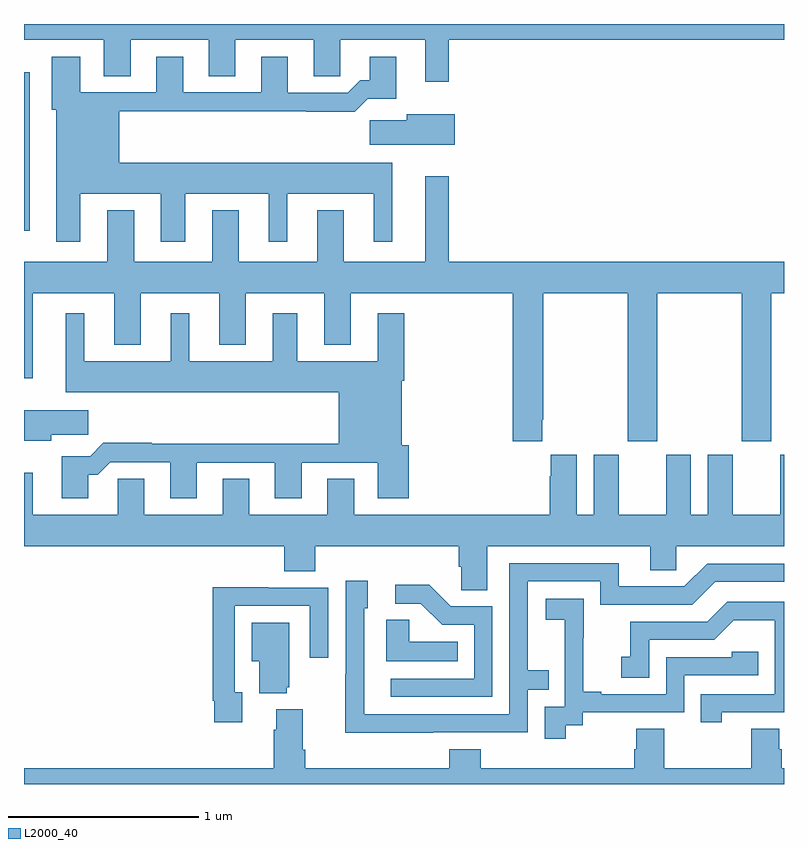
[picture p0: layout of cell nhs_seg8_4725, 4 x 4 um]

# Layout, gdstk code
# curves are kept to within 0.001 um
import gdstk
lib = gdstk.Library(unit=1e-6, precision=1e-09)
def R(c, l, rs):  # rectangles x0, y0, x1, y1
    for r in rs: c.add(gdstk.rectangle(r[:2], r[2:], *l))
def P(c, l, *ps):  # polygons
    for p in ps: c.add(gdstk.Polygon(p, *l))
L2000_40 = (2000, 40)

nhs_seg8_4725 = lib.new_cell('nhs_seg8_4725')
R(nhs_seg8_4725, L2000_40, [(397,1132.812,397.03,1133.647)])
P(nhs_seg8_4725, L2000_40, [(399.235,1133.816),(401,1133.816),(401,1133.9),(397,1133.9),(397,1133.816),(397.421,1133.816),(397.421,1133.626),(397.561,1133.626),(397.561,1133.816),(397.973,1133.816),(397.973,1133.626),(398.113,1133.626),(398.113,1133.816),(398.525,1133.816),(398.525,1133.626),(398.664,1133.626),(398.664,1133.816),(399.113,1133.816),(399.113,1133.595),(399.235,1133.595)],
  [(397.297,1133.006),(397.721,1133.006),(397.721,1132.755),(397.849,1132.755),(397.849,1133.006),(398.288,1133.006),(398.288,1132.755),(398.386,1132.755),(398.386,1133.006),(398.84,1133.006),(398.84,1132.755),(398.938,1132.755),(398.938,1133.17),(397.501,1133.17),(397.501,1133.44),(398.485,1133.44),(398.485,1133.438),(398.741,1133.438),(398.81,1133.507),(398.959,1133.507),(398.959,1133.728),(398.819,1133.728),(398.819,1133.605),(398.77,1133.605),(398.703,1133.538),(398.389,1133.538),(398.389,1133.728),(398.249,1133.728),(398.249,1133.541),(397.837,1133.541),(397.837,1133.728),(397.697,1133.728),(397.697,1133.541),(397.297,1133.541),(397.297,1133.728),(397.145,1133.728),(397.145,1133.448),(397.169,1133.448),(397.169,1132.755),(397.297,1132.755)],
  [(399.268,1133.425),(399.014,1133.425),(399.014,1133.393),(398.82,1133.393),(398.82,1133.264),(399.268,1133.264)],
  [(399.727,1131.817),(399.732,1131.817),(399.732,1132.484),(400.177,1132.484),(400.177,1131.705),(400.332,1131.705),(400.332,1132.484),(400.777,1132.484),(400.777,1131.705),(400.932,1131.705),(400.932,1132.484),(401,1132.484),(401,1132.648),(399.235,1132.648),(399.235,1133.098),(399.113,1133.098),(399.113,1132.648),(398.683,1132.648),(398.683,1132.921),(398.543,1132.921),(398.543,1132.648),(398.131,1132.648),(398.131,1132.921),(397.991,1132.921),(397.991,1132.648),(397.579,1132.648),(397.579,1132.921),(397.439,1132.921),(397.439,1132.648),(397,1132.648),(397,1132.035),(397.045,1132.035),(397.045,1132.484),(397.475,1132.484),(397.475,1132.211),(397.615,1132.211),(397.615,1132.484),(398.027,1132.484),(398.027,1132.211),(398.167,1132.211),(398.167,1132.484),(398.579,1132.484),(398.579,1132.211),(398.719,1132.211),(398.719,1132.484),(399.572,1132.484),(399.572,1131.705),(399.727,1131.705)],
  [(397.339,1131.527),(397.388,1131.527),(397.455,1131.594),(397.769,1131.594),(397.769,1131.405),(397.909,1131.405),(397.909,1131.591),(398.321,1131.591),(398.321,1131.405),(398.461,1131.405),(398.461,1131.591),(398.861,1131.591),(398.861,1131.405),(399.026,1131.405),(399.026,1131.684),(398.989,1131.684),(398.989,1132.022),(399.002,1132.022),(399.002,1132.378),(398.861,1132.378),(398.861,1132.126),(398.437,1132.126),(398.437,1132.378),(398.309,1132.378),(398.309,1132.126),(397.87,1132.126),(397.87,1132.378),(397.772,1132.378),(397.772,1132.126),(397.318,1132.126),(397.318,1132.378),(397.22,1132.378),(397.22,1131.962),(398.657,1131.962),(398.657,1131.692),(397.673,1131.692),(397.673,1131.695),(397.418,1131.695),(397.348,1131.625),(397.199,1131.625),(397.199,1131.405),(397.339,1131.405)],
  [(397.144,1131.739),(397.339,1131.739),(397.339,1131.868),(397,1131.868),(397,1131.707),(397.144,1131.707)],
  [(399.439,1131.152),(400.295,1131.152),(400.295,1131.025),(400.434,1131.025),(400.434,1131.152),(401,1131.152),(401,1131.634),(400.979,1131.634),(400.979,1131.316),(400.729,1131.316),(400.729,1131.634),(400.598,1131.634),(400.598,1131.316),(400.51,1131.316),(400.51,1131.634),(400.379,1131.634),(400.379,1131.316),(400.129,1131.316),(400.129,1131.634),(399.998,1131.634),(399.998,1131.316),(399.91,1131.316),(399.91,1131.634),(399.773,1131.634),(399.773,1131.521),(399.767,1131.521),(399.767,1131.316),(398.737,1131.316),(398.737,1131.506),(398.597,1131.506),(398.597,1131.316),(398.185,1131.316),(398.185,1131.506),(398.045,1131.506),(398.045,1131.316),(397.633,1131.316),(397.633,1131.506),(397.494,1131.506),(397.494,1131.316),(397.045,1131.316),(397.045,1131.538),(397,1131.538),(397,1131.152),(398.369,1131.152),(398.369,1131.019),(398.534,1131.019),(398.534,1131.152),(399.287,1131.152),(399.287,1131.043),(399.3,1131.043),(399.3,1130.92),(399.439,1130.92)],
  [(399.155,1130.172),(399.651,1130.172),(399.651,1130.397),(399.761,1130.397),(399.761,1130.498),(399.651,1130.498),(399.651,1130.967),(400.032,1130.967),(400.032,1130.844),(400.518,1130.844),(400.638,1130.964),(401,1130.964),(401,1131.06),(400.596,1131.06),(400.476,1130.94),(400.129,1130.94),(400.129,1131.063),(399.555,1131.063),(399.555,1130.268),(398.79,1130.268),(398.79,1130.826),(398.809,1130.826),(398.809,1130.971),(398.694,1130.971),(398.694,1130.477),(398.692,1130.477),(398.692,1130.171)],
  [(399.465,1130.835),(399.246,1130.835),(399.133,1130.948),(398.955,1130.948),(398.955,1130.85),(399.089,1130.85),(399.2,1130.739),(399.369,1130.739),(399.369,1130.454),(398.931,1130.454),(398.931,1130.358),(399.465,1130.358)],
  [(398.149,1130.382),(398.109,1130.382),(398.109,1130.838),(398.505,1130.838),(398.505,1130.565),(398.601,1130.565),(398.601,1130.934),(398.285,1130.934),(398.285,1130.936),(397.993,1130.936),(397.993,1130.338),(398.001,1130.338),(398.001,1130.226),(398.149,1130.226)],
  [(399.85,1130.209),(399.942,1130.209),(399.942,1130.277),(400.476,1130.277),(400.476,1130.472),(400.865,1130.472),(400.865,1130.595),(400.725,1130.595),(400.725,1130.568),(400.38,1130.568),(400.38,1130.373),(400.039,1130.373),(400.039,1130.386),(399.944,1130.386),(399.944,1130.669),(399.945,1130.669),(399.945,1130.875),(399.747,1130.875),(399.747,1130.765),(399.845,1130.765),(399.845,1130.537),(399.846,1130.537),(399.846,1130.307),(399.741,1130.307),(399.741,1130.139),(399.85,1130.139)],
  [(400.672,1130.277),(401,1130.277),(401,1130.859),(400.7,1130.859),(400.595,1130.754),(400.192,1130.754),(400.192,1130.569),(400.143,1130.569),(400.143,1130.46),(400.29,1130.46),(400.29,1130.658),(400.632,1130.658),(400.736,1130.762),(400.95,1130.762),(400.95,1130.373),(400.561,1130.373),(400.561,1130.226),(400.672,1130.226)],
  [(399.284,1130.65),(399.027,1130.65),(399.027,1130.765),(398.906,1130.765),(398.906,1130.546),(399.284,1130.546)],
  [(398.384,1130.409),(398.395,1130.409),(398.395,1130.749),(398.198,1130.749),(398.198,1130.546),(398.237,1130.546),(398.237,1130.378),(398.384,1130.378)],
  [(397,1129.9),(401,1129.9),(401,1129.984),(400.988,1129.984),(400.988,1130.082),(400.975,1130.082),(400.975,1130.192),(400.828,1130.192),(400.828,1129.984),(400.371,1129.984),(400.371,1130.192),(400.223,1130.192),(400.223,1130.082),(400.211,1130.082),(400.211,1129.984),(399.404,1129.984),(399.404,1130.083),(399.239,1130.083),(399.239,1129.984),(398.48,1129.984),(398.48,1130.08),(398.467,1130.08),(398.467,1130.293),(398.327,1130.293),(398.327,1130.186),(398.315,1130.186),(398.315,1129.984),(397,1129.984)])

lib.write_gds('nhs_seg8_4725.gds')
